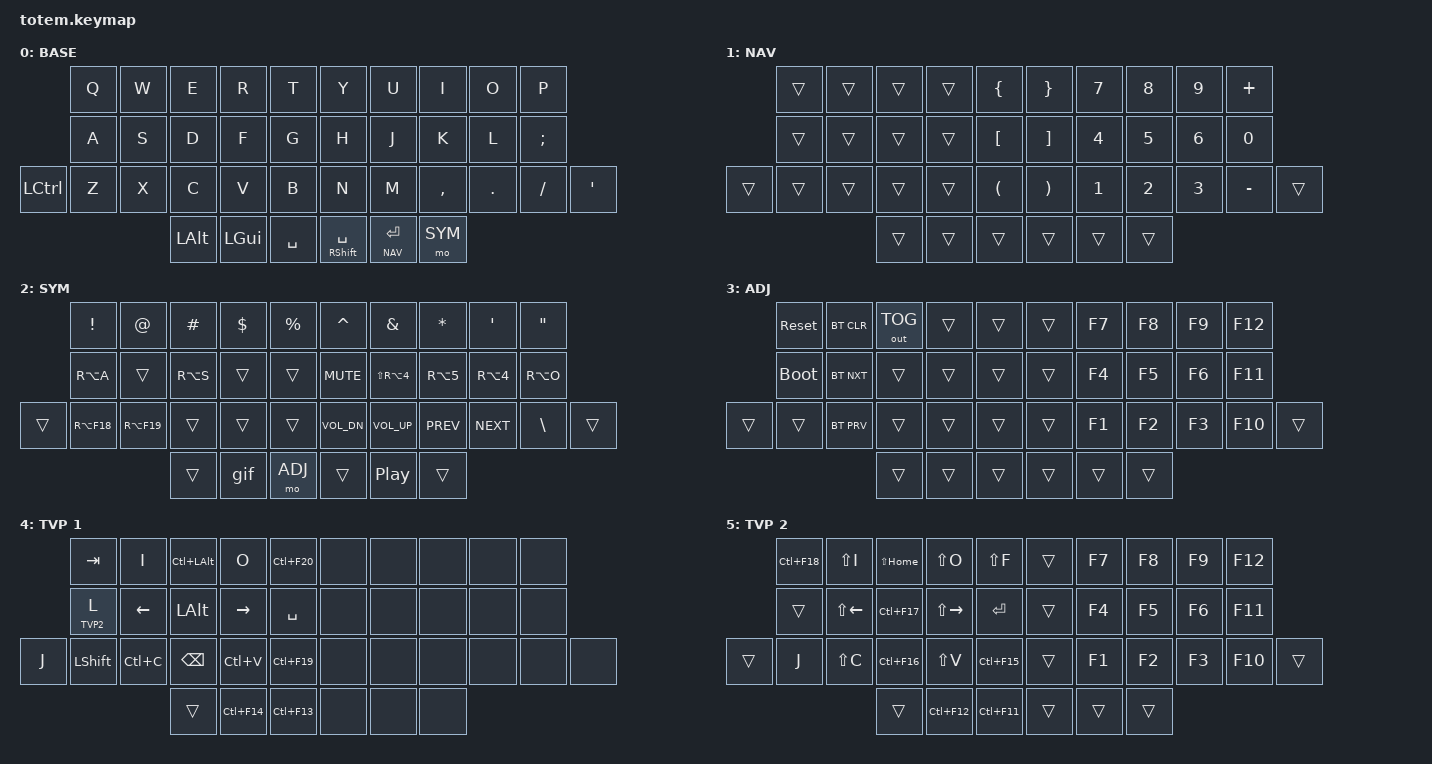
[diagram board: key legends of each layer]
//
//                                                        ▀▀▀▀▀     ▀▀▀▀▀          ▀▀█▀▀
//                                                        ▄▀▀▀▄  ▄  ▄▀▀▀▄  ▄  ▄▀▀▀▄  █  ▄▀▀▀▄
//                                                        █   █  █  █   █  █  █   █  █  █   █
//                                                         ▀▀▀   █   ▀▀▀   █   ▀▀▀   ▀   ▀▀▀
//                                                               █      ▄▄▄█▄▄▄    █   █  
//                                                               ▀      █  █  █     █▄█
//                                                             ▀▀▀▀▀    █  █  █      ▀
//                                                                      ▀  ▀  ▀
//
// ▄▄▄▄▄▄▄▄▄▄▄▄▄▄▄▄▄▄▄▄▄▄▄▄▄▄▄▄▄▄▄▄▄▄▄▄▄▄▄▄▄▄▄▄▄▄▄▄▄▄▄▄▄▄▄▄▄▄▄▄▄▄▄▄▄▄▄▄▄▄▄▄▄▄▄▄▄▄▄▄▄▄▄▄▄▄▄▄▄▄▄▄▄▄▄▄▄▄▄▄▄▄▄▄▄▄▄▄▄▄▄▄▄▄▄▄▄▄▄▄▄▄▄▄▄▄▄▄▄▄▄▄▄▄▄▄▄▄▄▄▄▄▄▄▄▄▄▄▄
       

#include <behaviors.dtsi>
#include <dt-bindings/zmk/keys.h>
#include <dt-bindings/zmk/bt.h>
#include <dt-bindings/zmk/outputs.h>

#define BASE 0
#define NAV  1
#define SYM  2
#define ADJ  3
#define TVP1 4
#define TVP2 5

&mt {
  quick-tap-ms = <100>;
  global-quick-tap;
  flavor = "tap-preferred";
  tapping-term-ms = <170>;
};

/ {
     combos {
            compatible = "zmk,combos";
            combo_esc {
                timeout-ms = <50>;
                key-positions = <0 1>;
                bindings = <&kp ESC>;
            };
    };

    macros {
        gif: gif {
            label = "giphy";
            compatible = "zmk,behavior-macro";
            #binding-cells = <0>;
            bindings
                = <&macro_press &kp LSHFT>
                , <&macro_tap &kp N2>
                , <&macro_release &kp LSHFT>
                , <&macro_tap &kp G &kp I &kp F>
                ;
        };
    };

        keymap {
                compatible = "zmk,keymap";
// ▄▄▄▄▄▄▄▄▄▄▄▄▄▄▄▄▄▄▄▄▄▄▄▄▄▄▄▄▄▄▄▄▄▄▄▄▄▄▄▄▄▄▄▄▄▄▄▄▄▄▄▄▄▄▄▄▄▄▄▄▄▄▄▄▄▄▄▄▄▄▄▄▄▄▄▄▄▄▄▄▄▄▄▄▄▄▄▄▄▄▄▄▄▄▄▄▄▄▄▄▄▄▄▄▄▄▄▄▄▄▄▄▄▄▄▄▄▄▄▄▄▄▄▄▄▄▄▄▄▄▄▄▄▄▄▄▄▄▄▄▄▄▄▄▄▄▄▄▄

                base_layer {
// ┏━━━━━━━━━━━━━━━━━━━━━━━━━━━━━━━━━━━━━━━┓
label= "BASE"                              ;
// ┗━━━━━━━━━━━━━━━━━━━━━━━━━━━━━━━━━━━━━━━┛
//             ┏━━━━━━━━━━━┳━━━━━━━━━━━┳━━━━━━━━━━━┳━━━━━━━━━━━┳━━━━━━━━━━━┓   ┏━━━━━━━━━━━┳━━━━━━━━━━━┳━━━━━━━━━━━┳━━━━━━━━━━━┳━━━━━━━━━━━┓
//             ┃     Q     ┃     W     ┃     F     ┃     P     ┃     G     ┃   ┃     J     ┃     L     ┃     U     ┃     Y     ┃     ;     ┃
//             ┣━━━━━━━━━━━╋━━━━━━━━━━━╋━━━━━━━━━━━╋━━━━━━━━━━━╋━━━━━━━━━━━┫   ┣━━━━━━━━━━━╋━━━━━━━━━━━╋━━━━━━━━━━━╋━━━━━━━━━━━╋━━━━━━━━━━━┫
//             ┃     A     ┃     R     ┃     S     ┃     T     ┃     D     ┃   ┃     H     ┃     N     ┃     E     ┃     I     ┃     O     ┃
// ┏━━━━━━━━━━━╋━━━━━━━━━━━╋━━━━━━━━━━━╋━━━━━━━━━━━╋━━━━━━━━━━━╋━━━━━━━━━━━┫   ┣━━━━━━━━━━━╋━━━━━━━━━━━╋━━━━━━━━━━━╋━━━━━━━━━━━╋━━━━━━━━━━━╋━━━━━━━━━━━┓
// ┃     Q     ┃     Z     ┃     X     ┃     C     ┃     V     ┃     B     ┃   ┃     K     ┃     M     ┃     ,     ┃     .     ┃     /     ┃     \     ┃
// ┗━━━━━━━━━━━┻━━━━━━━━━━━┻━━━━━━━━━━━╋━━━━━━━━━━━╋━━━━━━━━━━━╋━━━━━━━━━━━┫   ┣━━━━━━━━━━━╋━━━━━━━━━━━╋━━━━━━━━━━━╋━━━━━━━━━━━┻━━━━━━━━━━━┻━━━━━━━━━━━┛
//                                     ┃    DEL    ┃    TAB    ┃    SPC    ┃   ┃   ENTER   ┃           ┃   BSPC    ┃
//                                     ┗━━━━━━━━━━━┻━━━━━━━━━━━┻━━━━━━━━━━━┛   ┗━━━━━━━━━━━┻━━━━━━━━━━━┻━━━━━━━━━━━┛
 bindings = <
// ╷           ╷           ╷           ╷           ╷           ╷           ╷   ╷           ╷           ╷           ╷           ╷           ╷           ╷

                &kp Q       &kp W       &kp E       &kp R       &kp T           &kp Y       &kp U       &kp I       &kp O       &kp P
                &kp A       &kp S       &kp D       &kp F       &kp G           &kp H       &kp J       &kp K       &kp L       &kp SEMI
    &kp LCTRL   &kp Z       &kp X       &kp C       &kp V       &kp B           &kp N       &kp M       &kp COMMA   &kp DOT     &kp FSLH    &kp SQT 
                                        &kp LALT    &kp LGUI    &kp SPACE       &mt RSHFT SPACE  &lt NAV RET &mo SYM
                        >;
                };

// ▄▄▄▄▄▄▄▄▄▄▄▄▄▄▄▄▄▄▄▄▄▄▄▄▄▄▄▄▄▄▄▄▄▄▄▄▄▄▄▄▄▄▄▄▄▄▄▄▄▄▄▄▄▄▄▄▄▄▄▄▄▄▄▄▄▄▄▄▄▄▄▄▄▄▄▄▄▄▄▄▄▄▄▄▄▄▄▄▄▄▄▄▄▄▄▄▄▄▄▄▄▄▄▄▄▄▄▄▄▄▄▄▄▄▄▄▄▄▄▄▄▄▄▄▄▄▄▄▄▄▄▄▄▄▄▄▄▄▄▄▄▄▄▄▄▄▄▄▄


                nav_layer {
// ┏━━━━━━━━━━━━━━━━━━━━━━━━━━━━━━━━━━━━━━━┓
label= "NAV"                              ;
// ┗━━━━━━━━━━━━━━━━━━━━━━━━━━━━━━━━━━━━━━━┛
//             ┏━━━━━━━━━━━┳━━━━━━━━━━━┳━━━━━━━━━━━┳━━━━━━━━━━━┳━━━━━━━━━━━┓   ┏━━━━━━━━━━━┳━━━━━━━━━━━┳━━━━━━━━━━━┳━━━━━━━━━━━┳━━━━━━━━━━━┓
//             ┃           ┃           ┃     UP    ┃           ┃     {     ┃   ┃     }     ┃     7     ┃     8     ┃     9     ┃     +     ┃
//             ┣━━━━━━━━━━━╋━━━━━━━━━━━╋━━━━━━━━━━━╋━━━━━━━━━━━╋━━━━━━━━━━━┫   ┣━━━━━━━━━━━╋━━━━━━━━━━━╋━━━━━━━━━━━╋━━━━━━━━━━━╋━━━━━━━━━━━┫
//             ┃   SHIFT   ┃   LEFT    ┃    DOWN   ┃   RIGHT   ┃     [     ┃   ┃     ]     ┃     4     ┃     5     ┃     6     ┃     -     ┃
// ┏━━━━━━━━━━━╋━━━━━━━━━━━╋━━━━━━━━━━━╋━━━━━━━━━━━╋━━━━━━━━━━━╋━━━━━━━━━━━┫   ┣━━━━━━━━━━━╋━━━━━━━━━━━╋━━━━━━━━━━━╋━━━━━━━━━━━╋━━━━━━━━━━━╋━━━━━━━━━━━┓
// ┃           ┃           ┃   P UP    ┃  C LOCK   ┃  P DOWN   ┃     (     ┃   ┃     )     ┃     1     ┃     2     ┃     3     ┃     *     ┃           ┃
// ┗━━━━━━━━━━━┻━━━━━━━━━━━┻━━━━━━━━━━━╋━━━━━━━━━━━╋━━━━━━━━━━━╋━━━━━━━━━━━┫   ┣━━━━━━━━━━━╋━━━━━━━━━━━╋━━━━━━━━━━━╋━━━━━━━━━━━┻━━━━━━━━━━━┻━━━━━━━━━━━┛
//                                     ┃           ┃    TAB    ┃    SPC    ┃   ┃    DEL    ┃     0     ┃           ┃
//                                     ┗━━━━━━━━━━━┻━━━━━━━━━━━┻━━━━━━━━━━━┛   ┗━━━━━━━━━━━┻━━━━━━━━━━━┻━━━━━━━━━━━┛
 bindings = <
// ╷           ╷           ╷           ╷           ╷           ╷           ╷   ╷           ╷           ╷           ╷           ╷           ╷           ╷

                &trans      &trans      &trans      &trans      &kp LBRC        &kp RBRC    &kp N7      &kp N8      &kp N9      &kp PLUS
                &trans      &trans      &trans      &trans      &kp LBKT        &kp RBKT    &kp N4      &kp N5      &kp N6      &kp N0
    &trans      &trans      &trans      &trans      &trans      &kp LPAR        &kp RPAR    &kp N1      &kp N2      &kp N3      &kp MINUS   &trans      
                                        &trans      &trans      &trans          &trans      &trans      &trans      
                        >;
                };

// ▄▄▄▄▄▄▄▄▄▄▄▄▄▄▄▄▄▄▄▄▄▄▄▄▄▄▄▄▄▄▄▄▄▄▄▄▄▄▄▄▄▄▄▄▄▄▄▄▄▄▄▄▄▄▄▄▄▄▄▄▄▄▄▄▄▄▄▄▄▄▄▄▄▄▄▄▄▄▄▄▄▄▄▄▄▄▄▄▄▄▄▄▄▄▄▄▄▄▄▄▄▄▄▄▄▄▄▄▄▄▄▄▄▄▄▄▄▄▄▄▄▄▄▄▄▄▄▄▄▄▄▄▄▄▄▄▄▄▄▄▄▄▄▄▄▄▄▄▄


                sim_layer {
// ┏━━━━━━━━━━━━━━━━━━━━━━━━━━━━━━━━━━━━━━━┓
label= "SYM"                               ;
// ┗━━━━━━━━━━━━━━━━━━━━━━━━━━━━━━━━━━━━━━━┛
//             ┏━━━━━━━━━━━┳━━━━━━━━━━━┳━━━━━━━━━━━┳━━━━━━━━━━━┳━━━━━━━━━━━┓   ┏━━━━━━━━━━━┳━━━━━━━━━━━┳━━━━━━━━━━━┳━━━━━━━━━━━┳━━━━━━━━━━━┓
//             ┃     !     ┃     @     ┃     #     ┃     $     ┃     %     ┃   ┃     ˆ     ┃     &     ┃     Ü     ┃     '     ┃     "     ┃
//             ┣━━━━━━━━━━━╋━━━━━━━━━━━╋━━━━━━━━━━━╋━━━━━━━━━━━╋━━━━━━━━━━━┫   ┣━━━━━━━━━━━╋━━━━━━━━━━━╋━━━━━━━━━━━╋━━━━━━━━━━━╋━━━━━━━━━━━┫
//             ┃     Ä     ┃           ┃    SZ     ┃           ┃           ┃   ┃   MUTE    ┃   YEN     ┃   EURO    ┃  POUND    ┃     Ö     ┃
// ┏━━━━━━━━━━━╋━━━━━━━━━━━╋━━━━━━━━━━━╋━━━━━━━━━━━╋━━━━━━━━━━━╋━━━━━━━━━━━┫   ┣━━━━━━━━━━━╋━━━━━━━━━━━╋━━━━━━━━━━━╋━━━━━━━━━━━╋━━━━━━━━━━━╋━━━━━━━━━━━┓
// ┃           ┃  EMAIL1   ┃  EMAIL2   ┃           ┃           ┃           ┃   ┃   VOL-    ┃   VOL+    ┃   LAST    ┃   NEXT    ┃     \     ┃           ┃
// ┗━━━━━━━━━━━┻━━━━━━━━━━━┻━━━━━━━━━━━╋━━━━━━━━━━━╋━━━━━━━━━━━╋━━━━━━━━━━━┫   ┣━━━━━━━━━━━╋━━━━━━━━━━━╋━━━━━━━━━━━╋━━━━━━━━━━━┻━━━━━━━━━━━┻━━━━━━━━━━━┛
//                                     ┃           ┃    GIF    ┃    ADJ    ┃   ┃           ┃           ┃           ┃
//                                     ┗━━━━━━━━━━━┻━━━━━━━━━━━┻━━━━━━━━━━━┛   ┗━━━━━━━━━━━┻━━━━━━━━━━━┻━━━━━━━━━━━┛
 bindings = <
// ╷           ╷           ╷           ╷           ╷           ╷           ╷   ╷           ╷           ╷           ╷           ╷           ╷           ╷

                &kp EXCL    &kp AT      &kp HASH    &kp DLLR    &kp PRCNT       &kp CARET   &kp AMPS    &kp STAR   &kp SQT     &kp DQT       
                &kp RA(A)   &trans      &kp RA(S)   &trans      &trans          &kp C_MUTE  &kp LS(RA(N4)) &kp RA(N5) &kp RA(N4)   &kp RA(O) 
    &trans      &kp RA(F18) &kp RA(F19) &trans      &trans      &trans          &kp C_VOL_DN &kp C_VOL_UP &kp C_PREV &kp C_NEXT  &kp BSLH   &trans         
                                        &trans      &gif        &mo ADJ         &trans      &kp C_PP    &trans      
                        >;
                };

// ▄▄▄▄▄▄▄▄▄▄▄▄▄▄▄▄▄▄▄▄▄▄▄▄▄▄▄▄▄▄▄▄▄▄▄▄▄▄▄▄▄▄▄▄▄▄▄▄▄▄▄▄▄▄▄▄▄▄▄▄▄▄▄▄▄▄▄▄▄▄▄▄▄▄▄▄▄▄▄▄▄▄▄▄▄▄▄▄▄▄▄▄▄▄▄▄▄▄▄▄▄▄▄▄▄▄▄▄▄▄▄▄▄▄▄▄▄▄▄▄▄▄▄▄▄▄▄▄▄▄▄▄▄▄▄▄▄▄▄▄▄▄▄▄▄▄▄▄▄


                adjust_layer {
// ┏━━━━━━━━━━━━━━━━━━━━━━━━━━━━━━━━━━━━━━━┓
label= "ADJ"                               ;
// ┗━━━━━━━━━━━━━━━━━━━━━━━━━━━━━━━━━━━━━━━┛
//             ┏━━━━━━━━━━━┳━━━━━━━━━━━┳━━━━━━━━━━━┳━━━━━━━━━━━┳━━━━━━━━━━━┓   ┏━━━━━━━━━━━┳━━━━━━━━━━━┳━━━━━━━━━━━┳━━━━━━━━━━━┳━━━━━━━━━━━┓
//             ┃   RESET   ┃ BT CLEAR  ┃  OUT TOG  ┃           ┃           ┃   ┃           ┃    F7     ┃    F8     ┃    F9     ┃    F12    ┃
//             ┣━━━━━━━━━━━╋━━━━━━━━━━━╋━━━━━━━━━━━╋━━━━━━━━━━━╋━━━━━━━━━━━┫   ┣━━━━━━━━━━━╋━━━━━━━━━━━╋━━━━━━━━━━━╋━━━━━━━━━━━╋━━━━━━━━━━━┫
//             ┃ BOOTLOAD  ┃ BT NEXT   ┃           ┃           ┃           ┃   ┃           ┃    F4     ┃    F5     ┃    F6     ┃    F11    ┃
// ┏━━━━━━━━━━━╋━━━━━━━━━━━╋━━━━━━━━━━━╋━━━━━━━━━━━╋━━━━━━━━━━━╋━━━━━━━━━━━┫   ┣━━━━━━━━━━━╋━━━━━━━━━━━╋━━━━━━━━━━━╋━━━━━━━━━━━╋━━━━━━━━━━━╋━━━━━━━━━━━┓
// ┃           ┃           ┃ BT PREV   ┃           ┃           ┃           ┃   ┃           ┃    F1     ┃    F2     ┃    F3     ┃    F10    ┃           ┃
// ┗━━━━━━━━━━━┻━━━━━━━━━━━┻━━━━━━━━━━━╋━━━━━━━━━━━╋━━━━━━━━━━━╋━━━━━━━━━━━┫   ┣━━━━━━━━━━━╋━━━━━━━━━━━╋━━━━━━━━━━━╋━━━━━━━━━━━┻━━━━━━━━━━━┻━━━━━━━━━━━┛
//                                     ┃           ┃           ┃           ┃   ┃           ┃           ┃           ┃
//                                     ┗━━━━━━━━━━━┻━━━━━━━━━━━┻━━━━━━━━━━━┛   ┗━━━━━━━━━━━┻━━━━━━━━━━━┻━━━━━━━━━━━┛
 bindings = <
// ╷           ╷           ╷           ╷           ╷           ╷           ╷   ╷           ╷           ╷           ╷           ╷           ╷           ╷

                &sys_reset  &bt BT_CLR &out OUT_TOG &trans      &trans          &trans      &kp F7      &kp F8      &kp F9      &kp F12
                &bootloader &bt BT_NXT  &trans      &trans      &trans          &trans      &kp F4      &kp F5      &kp F6      &kp F11  
    &trans      &trans      &bt BT_PRV  &trans      &trans      &trans          &trans      &kp F1      &kp F2      &kp F3      &kp F10     &trans         
                                        &trans      &trans      &trans          &trans      &trans      &trans      
                        >;
                };

// ▄▄▄▄▄▄▄▄▄▄▄▄▄▄▄▄▄▄▄▄▄▄▄▄▄▄▄▄▄▄▄▄▄▄▄▄▄▄▄▄▄▄▄▄▄▄▄▄▄▄▄▄▄▄▄▄▄▄▄▄▄▄▄▄▄▄▄▄▄▄▄▄▄▄▄▄▄▄▄▄▄▄▄▄▄▄▄▄▄▄▄▄▄▄▄▄▄▄▄▄▄▄▄▄▄▄▄▄▄▄▄▄▄▄▄▄▄▄▄▄▄▄▄▄▄▄▄▄▄▄▄▄▄▄▄▄▄▄▄▄▄▄▄▄▄▄▄▄▄


                tvp1_layer {
// ┏━━━━━━━━━━━━━━━━━━━━━━━━━━━━━━━━━━━━━━━┓
label= "TVP 1"                             ;
// ┗━━━━━━━━━━━━━━━━━━━━━━━━━━━━━━━━━━━━━━━┛
//             ┏━━━━━━━━━━━┳━━━━━━━━━━━┳━━━━━━━━━━━┳━━━━━━━━━━━┳━━━━━━━━━━━┓   ┏━━━━━━━━━━━┳━━━━━━━━━━━┳━━━━━━━━━━━┳━━━━━━━━━━━┳━━━━━━━━━━━┓
//             ┃ NEXT FILE ┃ MARK IN   ┃ ROTATE    ┃ MARK OUT  ┃ SHOW SNAP ┃   ┃           ┃           ┃           ┃           ┃           ┃
//             ┣━━━━━━━━━━━╋━━━━━━━━━━━╋━━━━━━━━━━━╋━━━━━━━━━━━╋━━━━━━━━━━━┫   ┣━━━━━━━━━━━╋━━━━━━━━━━━╋━━━━━━━━━━━╋━━━━━━━━━━━╋━━━━━━━━━━━┫
//             ┃ TVP II    ┃ LEFT      ┃ PAN       ┃ RIGHT     ┃ PLAY/FLIP ┃   ┃           ┃           ┃           ┃           ┃           ┃
// ┏━━━━━━━━━━━╋━━━━━━━━━━━╋━━━━━━━━━━━╋━━━━━━━━━━━╋━━━━━━━━━━━╋━━━━━━━━━━━┫   ┣━━━━━━━━━━━╋━━━━━━━━━━━╋━━━━━━━━━━━╋━━━━━━━━━━━╋━━━━━━━━━━━╋━━━━━━━━━━━┓
// ┃ FULLSCR   ┃ SHIFT     ┃ COPY      ┃ DELETE    ┃ PASTE     ┃ IMG MARK  ┃   ┃           ┃           ┃           ┃           ┃           ┃           ┃
// ┗━━━━━━━━━━━┻━━━━━━━━━━━┻━━━━━━━━━━━╋━━━━━━━━━━━╋━━━━━━━━━━━╋━━━━━━━━━━━┫   ┣━━━━━━━━━━━╋━━━━━━━━━━━╋━━━━━━━━━━━╋━━━━━━━━━━━┻━━━━━━━━━━━┻━━━━━━━━━━━┛
//                                     ┃           ┃ UNDO/SAVE ┃  SEL/MOV  ┃   ┃           ┃           ┃           ┃
//                                     ┗━━━━━━━━━━━┻━━━━━━━━━━━┻━━━━━━━━━━━┛   ┗━━━━━━━━━━━┻━━━━━━━━━━━┻━━━━━━━━━━━┛
 bindings = <
// ╷           ╷           ╷           ╷           ╷           ╷           ╷   ╷           ╷           ╷           ╷           ╷           ╷           ╷

                &kp TAB     &kp I       &kp LC(LALT) &kp O      &kp LC(F20)     &none       &none       &none       &none       &none
                &lt TVP2 L  &kp LEFT    &kp LALT    &kp RIGHT   &kp SPACE       &none       &none       &none       &none       &none
    &kp J       &kp LSHFT   &kp LC(C)   &kp BSPC    &kp LC(V)   &kp LC(F19)     &none       &none       &none       &none       &none       &none        
                                        &trans      &kp LC(F14) &kp LC(F13)     &none       &none       &none    
                        >;
                };

// ▄▄▄▄▄▄▄▄▄▄▄▄▄▄▄▄▄▄▄▄▄▄▄▄▄▄▄▄▄▄▄▄▄▄▄▄▄▄▄▄▄▄▄▄▄▄▄▄▄▄▄▄▄▄▄▄▄▄▄▄▄▄▄▄▄▄▄▄▄▄▄▄▄▄▄▄▄▄▄▄▄▄▄▄▄▄▄▄▄▄▄▄▄▄▄▄▄▄▄▄▄▄▄▄▄▄▄▄▄▄▄▄▄▄▄▄▄▄▄▄▄▄▄▄▄▄▄▄▄▄▄▄▄▄▄▄▄▄▄▄▄▄▄▄▄▄▄▄▄


                tvp2_layer {
// ┏━━━━━━━━━━━━━━━━━━━━━━━━━━━━━━━━━━━━━━━┓
label= "TVP 2"                             ;
// ┗━━━━━━━━━━━━━━━━━━━━━━━━━━━━━━━━━━━━━━━┛
//             ┏━━━━━━━━━━━┳━━━━━━━━━━━┳━━━━━━━━━━━┳━━━━━━━━━━━┳━━━━━━━━━━━┓   ┏━━━━━━━━━━━┳━━━━━━━━━━━┳━━━━━━━━━━━┳━━━━━━━━━━━┳━━━━━━━━━━━┓
//             ┃ SOLO      ┃ TOGGLE IN ┃ RESET ROT ┃ TOGGLE OUT┃ TAKE SNAP ┃   ┃           ┃           ┃           ┃           ┃           ┃
//             ┣━━━━━━━━━━━╋━━━━━━━━━━━╋━━━━━━━━━━━╋━━━━━━━━━━━╋━━━━━━━━━━━┫   ┣━━━━━━━━━━━╋━━━━━━━━━━━╋━━━━━━━━━━━╋━━━━━━━━━━━╋━━━━━━━━━━━┫
//             ┃ ---       ┃ LAST KEY  ┃ NEW KEY   ┃ NEXT KEY  ┃ ENTER     ┃   ┃           ┃           ┃           ┃           ┃           ┃
// ┏━━━━━━━━━━━╋━━━━━━━━━━━╋━━━━━━━━━━━╋━━━━━━━━━━━╋━━━━━━━━━━━╋━━━━━━━━━━━┫   ┣━━━━━━━━━━━╋━━━━━━━━━━━╋━━━━━━━━━━━╋━━━━━━━━━━━╋━━━━━━━━━━━╋━━━━━━━━━━━┓
// ┃           ┃ FULLSCR   ┃ CPY2BRUSH ┃ DEL HEAD  ┃ PSTinPLACE┃ BOOK MARK ┃   ┃           ┃           ┃           ┃           ┃           ┃           ┃
// ┗━━━━━━━━━━━┻━━━━━━━━━━━┻━━━━━━━━━━━╋━━━━━━━━━━━╋━━━━━━━━━━━╋━━━━━━━━━━━┫   ┣━━━━━━━━━━━╋━━━━━━━━━━━╋━━━━━━━━━━━╋━━━━━━━━━━━┻━━━━━━━━━━━┻━━━━━━━━━━━┛
//                                     ┃           ┃ REDO/SAV1 ┃TRANS/WARP ┃   ┃           ┃           ┃           ┃
//                                     ┗━━━━━━━━━━━┻━━━━━━━━━━━┻━━━━━━━━━━━┛   ┗━━━━━━━━━━━┻━━━━━━━━━━━┻━━━━━━━━━━━┛
 bindings = <
// ╷           ╷           ╷           ╷           ╷           ╷           ╷   ╷           ╷           ╷           ╷           ╷           ╷           ╷

                &kp LC(F18) &kp LS(I)  &kp LS(HOME) &kp LS(O)   &kp LS(F)       &trans      &kp F7      &kp F8      &kp F9      &kp F12
                &trans      &kp LS(LEFT) &kp LC(F17) &kp LS(RIGHT) &kp RET      &trans      &kp F4      &kp F5      &kp F6      &kp F11  
    &trans      &kp J       &kp LS(C)   &kp LC(F16) &kp LS(V)   &kp LC(F15)     &trans      &kp F1      &kp F2      &kp F3      &kp F10     &trans         
                                        &trans      &kp LC(F12) &kp LC(F11)     &trans      &trans      &trans      
                        >;
                };
        };
};
